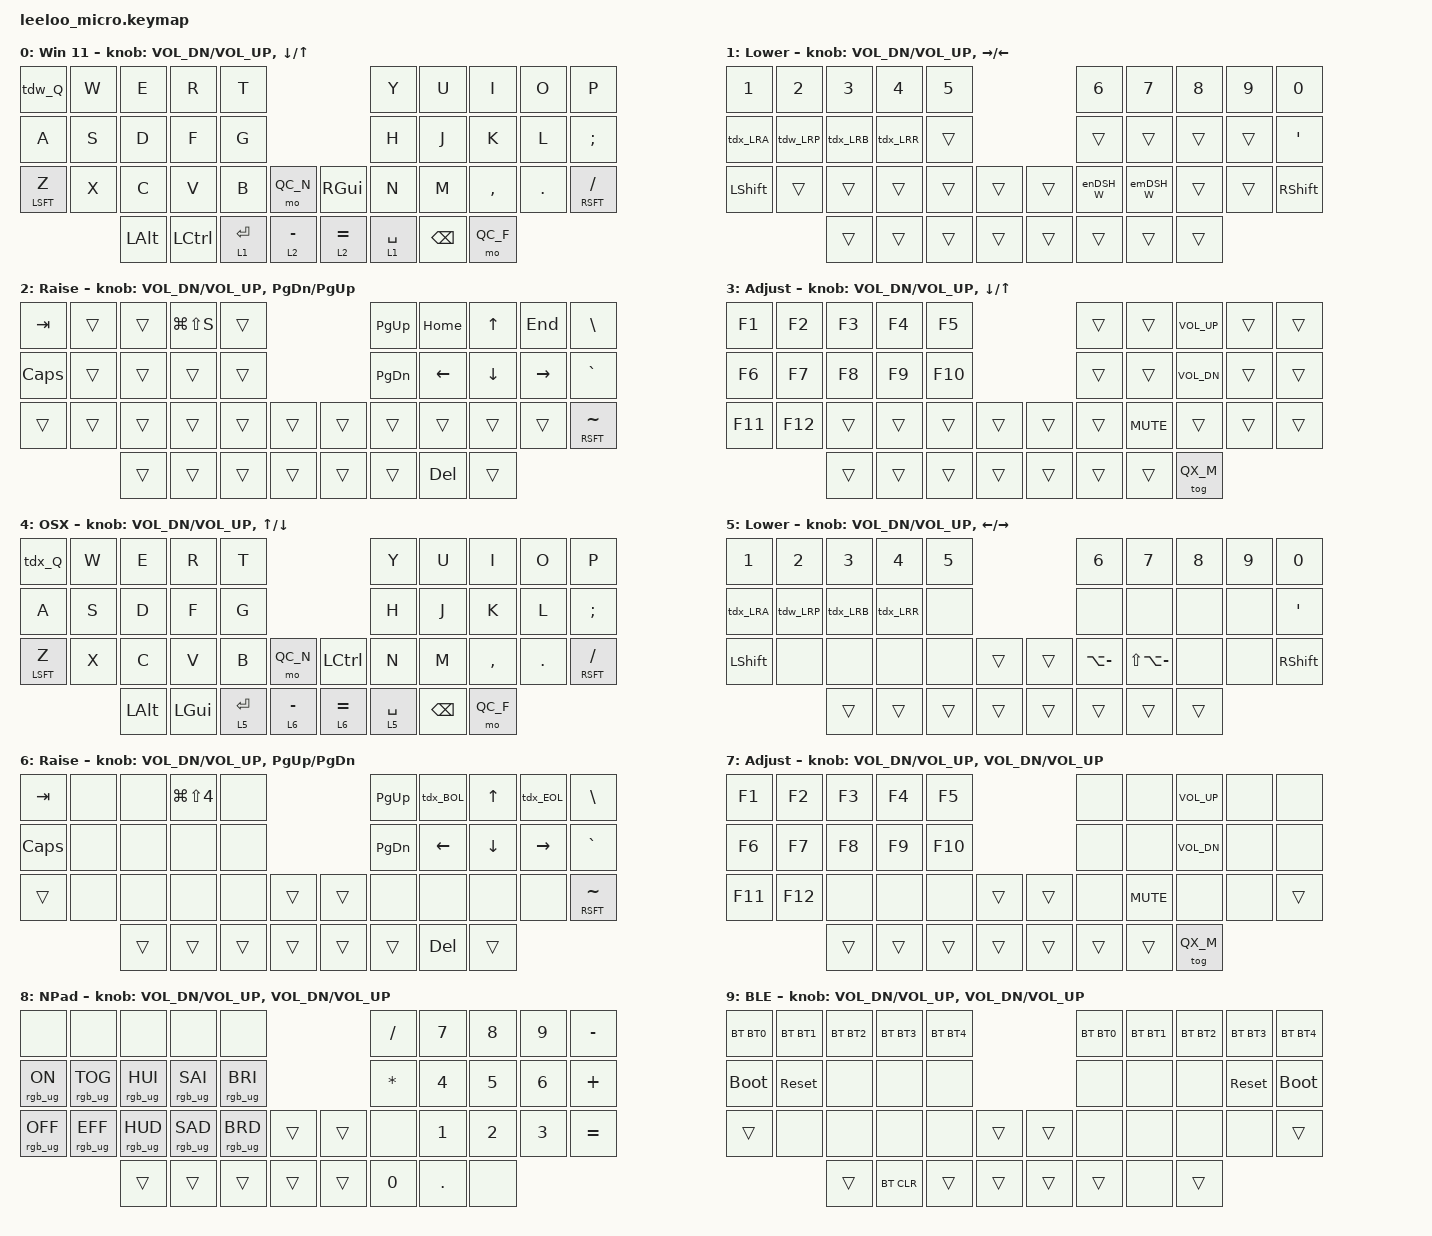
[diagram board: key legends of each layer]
/*
 * Copyright (c) 2023 The ZMK Contributors
 * SPDX-License-Identifier: MIT
 */

#include <behaviors.dtsi>
#include <dt-bindings/zmk/outputs.h>
#include <dt-bindings/zmk/keys.h>
#include <dt-bindings/zmk/bt.h>
#include <dt-bindings/zmk/rgb.h>

// Layers
#define QW_M    0       // Main
#define QW_L    1       // Lower
#define QW_R    2       // Raise
#define QW_A    3       // Adjust

#define QX_M    4       // Main
#define QX_L    5       // Lower
#define QX_R    6       // Raise
#define QX_A    7       // Adjust

#define QC_N    8       // Number Pad
#define QC_F    9       // Firmware


// Short versions
#define WIN_SC      LG(LS(S))
#define OSX_SC      LG(LS(N4))

#define enDSH_X     LA(MINUS)
#define emDSH_X     LS(LA(MINUS))

#define BT0         BT_SEL 0
#define BT1         BT_SEL 1
#define BT2         BT_SEL 2
#define BT3         BT_SEL 3
#define BT4         BT_SEL 4

#define BOOTLDR     &bootloader

#define VOLUP   C_VOL_UP
#define VOLDN   C_VOL_DN
#define VOLMT   C_MUTE

#define RGBON   &rgb_ug RGB_ON
#define RGBOFF  &rgb_ug RGB_OFF
#define RGBTOG  &rgb_ug RGB_TOG
#define RGBHUI  &rgb_ug RGB_HUI
#define RGBHUD  &rgb_ug RGB_HUD
#define RGBSAI  &rgb_ug RGB_SAI
#define RGBSAD  &rgb_ug RGB_SAD
#define RGBBRI  &rgb_ug RGB_BRI
#define RGBBRD  &rgb_ug RGB_BRD
#define RGBEFF  &rgb_ug RGB_EFF


/*
 * Assign the cs-gpios pin to 4.
 * Uncomment these next few lines if implementing nice!view Displays
 */
nice_view_spi: &spi0 {
//    compatible = "nordic,nrf-spim";
//    pinctrl-0 = <&spi0_default>;
//    pinctrl-1 = <&spi0_sleep>;
//    pinctrl-names = "default", "sleep";
    cs-gpios = <&pro_micro 4 GPIO_ACTIVE_HIGH>;
};


/ {
    conditional_layers {
        compatible = "zmk,conditional-layers";
        adjust_win_layer {
            if-layers = <QW_L QW_R>;
            then-layer = <QW_A>;
        };
        
        adjust_osx_layer {
            if-layers = <QX_L QX_R>;
            then-layer = <QX_A>;
        };
    };

    combos {
        compatible = "zmk,combos";

        combo_win_esc {
            timeout-ms = <50>;
            key-positions = <0 1>;
            layers = <QW_M>;
            bindings = <&kp ESC>;
        };

        combo_osx_esc {
            timeout-ms = <50>;
            key-positions = <0 1>;
            layers = <QX_M>;
            bindings = <&kp ESC>;
        };
    };

    macros {
        enDSH_W: en_Dash {
            label = "enDSH_W";
            compatible = "zmk,behavior-macro";
            #binding-cells = <0>;
            wait-ms = <20>;
            tap-ms = <20>;
            bindings
                = <&macro_press   &kp LALT>
                , <&macro_tap     &kp KP_N0 &kp KP_N1 &kp KP_N5 &kp KP_N0>
                , <&macro_release &kp LALT>
                ;
        };

        emDSH_W: em_Dash {
            label = "emDSH_W";
            compatible = "zmk,behavior-macro";
            #binding-cells = <0>;
            wait-ms = <20>;
            tap-ms = <20>;
            bindings
                = <&macro_press   &kp LALT>
                , <&macro_tap     &kp KP_N0 &kp KP_N1 &kp KP_N5 &kp KP_N1>
                , <&macro_release &kp LALT>
                ;
        };
    };

    behaviors {
        tdw_Q: tap_dance_0 {
            compatible = "zmk,behavior-tap-dance";
            label = "WIN_QUIT";
            #binding-cells = <0>;
            tapping-term-ms = <200>;
            bindings = <&kp Q>, <&kp LA(F4)>;
        };

        tdx_Q: tap_dance_1 {
            compatible = "zmk,behavior-tap-dance";
            label = "OSX_QUIT";
            #binding-cells = <0>;
            tapping-term-ms = <200>;
            bindings = <&kp Q>, <&kp LG(Q)>;
        };

        tdw_LRP: tap_dance_2 {
            compatible = "zmk,behavior-tap-dance";
            label = "WIN_LRPAR";
            #binding-cells = <0>;
            tapping-term-ms = <200>;
            bindings = <&kp LPAR>, <&kp RPAR>;
        };

        tdx_LRB: tap_dance_3 {
            compatible = "zmk,behavior-tap-dance";
            label = "WIN_LRBKT";
            #binding-cells = <0>;
            tapping-term-ms = <200>;
            bindings = <&kp LBKT>, <&kp RBKT>;
        };

        tdx_LRR: tap_dance_4 {
            compatible = "zmk,behavior-tap-dance";
            label = "WIN_LRBRC";
            #binding-cells = <0>;
            tapping-term-ms = <200>;
            bindings = <&kp LBRC>, <&kp RBRC>;
        };

        tdx_LRA: tap_dance_5 {
            compatible = "zmk,behavior-tap-dance";
            label = "WIN_LRANG";
            #binding-cells = <0>;
            tapping-term-ms = <200>;
            bindings = <&kp LT>, <&kp GT>;
        };

        tdx_BOL: tap_dance_6 {
            compatible = "zmk,behavior-tap-dance";
            label = "OSX_BOL";
            #binding-cells = <0>;
            tapping-term-ms = <200>;
            bindings = <&kp LG(LEFT)>, <&kp HOME>;
        };

        tdx_EOL: tap_dance_7 {
            compatible = "zmk,behavior-tap-dance";
            label = "OSX_EOL";
            #binding-cells = <0>;
            tapping-term-ms = <200>;
            bindings = <&kp LG(RIGHT)>, <&kp END>;
        };
    };

    keymap {
        compatible = "zmk,keymap";

        default_win_layer {
            label = " Win 11";
            bindings = <
&tdw_Q     &kp W      &kp E      &kp R      &kp T                            &kp Y      &kp U      &kp I      &kp O      &kp P
&kp A      &kp S      &kp D      &kp F      &kp G                            &kp H      &kp J      &kp K      &kp L      &kp SEMI
&mt LSFT Z &kp X      &kp C      &kp V      &kp B     &mo QC_N    &kp RGUI   &kp N      &kp M      &kp COMMA  &kp DOT    &mt RSFT FSLH
                  &kp LALT   &kp LCTRL  &lt 1 RET  &lt 2 MINUS    &lt 2 EQUAL  &lt 1 SPACE  &kp BSPC   &mo QC_F
            >;

            sensor-bindings = <&inc_dec_kp C_VOL_DN C_VOL_UP &inc_dec_kp DOWN UP>;
        };

        lower_win_layer {
            label = " Lower";
            bindings = <
&kp N1     &kp N2     &kp N3     &kp N4     &kp N5                           &kp N6     &kp N7     &kp N8     &kp N9     &kp N0
&tdx_LRA   &tdw_LRP   &tdx_LRB   &tdx_LRR   &trans                           &trans     &trans     &trans     &trans     &kp QUOT
&kp LSHFT  &trans     &trans     &trans     &trans     &trans     &trans     &enDSH_W   &emDSH_W   &trans     &trans     &kp RSHFT
                      &trans     &trans     &trans     &trans     &trans     &trans     &trans     &trans
            >;

            sensor-bindings = <&inc_dec_kp C_VOL_DN C_VOL_UP &inc_dec_kp RIGHT LEFT>;
        };

        raise_win_layer {
            label = " Raise";
            bindings = <
&kp TAB    &trans     &trans     &kp WIN_SC &trans                           &kp PG_UP  &kp HOME   &kp UP     &kp END    &kp BSLH
&kp CAPS   &trans     &trans     &trans     &trans                           &kp PG_DN  &kp LEFT   &kp DOWN   &kp RIGHT  &kp GRAVE
&trans     &trans     &trans     &trans     &trans     &trans     &trans     &trans     &trans     &trans     &trans     &mt RSFT TILDE
                      &trans     &trans     &trans     &trans     &trans     &trans     &kp DEL    &trans
            >;

            sensor-bindings = <&inc_dec_kp C_VOL_DN C_VOL_UP &inc_dec_kp PG_DN PG_UP>;
        };

        adjust_win_layer {
            label = " Adjust";
            bindings = <

&kp F1     &kp F2     &kp F3     &kp F4     &kp F5                           &trans     &trans     &kp VOLUP  &trans     &trans
&kp F6     &kp F7     &kp F8     &kp F9     &kp F10                          &trans     &trans     &kp VOLDN  &trans     &trans
&kp F11    &kp F12    &trans     &trans     &trans     &trans     &trans     &trans     &kp VOLMT  &trans     &trans     &trans
                      &trans     &trans     &trans     &trans     &trans     &trans     &trans     &tog QX_M
            >;

            sensor-bindings = <&inc_dec_kp C_VOL_DN C_VOL_UP &inc_dec_kp DOWN UP>;
        };

        default_osx_layer {
            label = " OSX";
            bindings = <
&tdx_Q     &kp W      &kp E      &kp R      &kp T                            &kp Y      &kp U      &kp I      &kp O      &kp P
&kp A      &kp S      &kp D      &kp F      &kp G                            &kp H      &kp J      &kp K      &kp L      &kp SEMI
&mt LSFT Z &kp X      &kp C      &kp V      &kp B     &mo QC_N    &kp LCTRL  &kp N      &kp M      &kp COMMA  &kp DOT    &mt RSFT FSLH
                  &kp LALT   &kp LGUI   &lt 5 RET  &lt 6 MINUS    &lt 6 EQUAL  &lt 5 SPACE  &kp BSPC   &mo QC_F
            >;

            sensor-bindings = <&inc_dec_kp C_VOL_DN C_VOL_UP &inc_dec_kp UP DOWN>;
        };

        lower_osx_layer {
            label = " Lower";
            bindings = <
&kp N1     &kp N2     &kp N3     &kp N4     &kp N5                           &kp N6      &kp N7      &kp N8     &kp N9     &kp N0
&tdx_LRA   &tdw_LRP   &tdx_LRB   &tdx_LRR   &none                            &none       &none       &none      &none      &kp QUOT
&kp LSHFT  &none      &none      &none      &none      &trans     &trans     &kp enDSH_X &kp emDSH_X &none      &none      &kp RSHFT
                      &trans     &trans     &trans     &trans     &trans     &trans      &trans      &trans
            >;

            sensor-bindings = <&inc_dec_kp C_VOL_DN C_VOL_UP &inc_dec_kp LEFT RIGHT>;
        };

        raise_osx_layer {
            label = " Raise";
            bindings = <
&kp TAB    &none      &none      &kp OSX_SC &none                            &kp PG_UP  &tdx_BOL   &kp UP     &tdx_EOL   &kp BSLH
&kp CAPS   &none      &none      &none      &none                            &kp PG_DN  &kp LEFT   &kp DOWN   &kp RIGHT  &kp GRAVE
&trans     &none      &none      &none      &none      &trans     &trans     &none      &none      &none      &none      &mt RSFT TILDE
                      &trans     &trans     &trans     &trans     &trans     &trans     &kp DEL    &trans
            >;

            sensor-bindings = <&inc_dec_kp C_VOL_DN C_VOL_UP &inc_dec_kp PG_UP PG_DN>;
        };

        adjust_osx_layer {
            label = " Adjust";
            bindings = <

&kp F1     &kp F2     &kp F3     &kp F4     &kp F5                           &none      &none      &kp VOLUP  &none      &none
&kp F6     &kp F7     &kp F8     &kp F9     &kp F10                          &none      &none      &kp VOLDN  &none      &none
&kp F11    &kp F12    &none      &none      &none      &trans     &trans     &none      &kp VOLMT  &none      &none      &trans
                      &trans     &trans     &trans     &trans     &trans     &trans     &trans     &tog QX_M
            >;

            sensor-bindings = <&inc_dec_kp C_VOL_DN C_VOL_UP &inc_dec_kp C_VOL_DN C_VOL_UP>;
        };

        numpad_layer {
            label = " NPad";
            bindings = <

&none      &none      &none      &none      &none                            &kp SLASH  &kp N7     &kp N8     &kp N9     &kp MINUS
RGBON      RGBTOG     RGBHUI     RGBSAI     RGBBRI                           &kp ASTRK  &kp N4     &kp N5     &kp N6     &kp PLUS 
RGBOFF     RGBEFF     RGBHUD     RGBSAD     RGBBRD     &trans     &trans     &none      &kp N1     &kp N2     &kp N3     &kp EQUAL
                      &trans     &trans     &trans     &trans     &trans     &kp N0     &kp DOT    &none
            >;

            sensor-bindings = <&inc_dec_kp C_VOL_DN C_VOL_UP &inc_dec_kp C_VOL_DN C_VOL_UP>;
        };

        ble_layer {
            label = " BLE";
            bindings = <

&bt BT0    &bt BT1    &bt BT2    &bt BT3    &bt BT4                          &bt BT0    &bt BT1    &bt BT2    &bt BT3    &bt BT4
BOOTLDR    &sys_reset &none      &none      &none                            &none      &none      &none      &sys_reset BOOTLDR
&trans     &none      &none      &none      &none      &trans     &trans     &none      &none      &none      &none      &trans
                      &trans     &bt BT_CLR &trans     &trans     &trans     &trans     &none      &trans
            >;

            sensor-bindings = <&inc_dec_kp C_VOL_DN C_VOL_UP &inc_dec_kp C_VOL_DN C_VOL_UP>;
        };

    };
};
